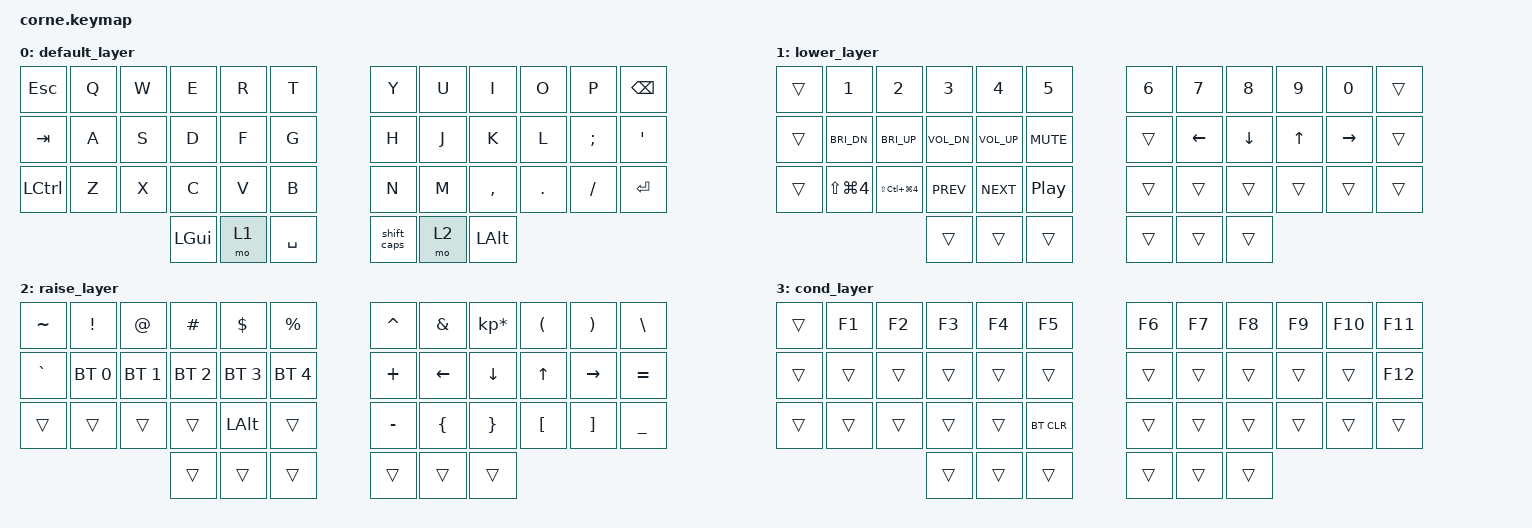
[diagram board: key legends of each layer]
/*
 * Copyright (c) 2020 The ZMK Contributors
 *
 * SPDX-License-Identifier: MIT
 */

#include <behaviors.dtsi>
#include <dt-bindings/zmk/bt.h>
#include <dt-bindings/zmk/keys.h>

/ {
    behaviors {
        shift_caps: shift_caps {
            compatible = "zmk,behavior-tap-dance";
            label = "SHIFT_CAPS";
            #binding-cells = <0>;
            bindings = <&kp LSHIFT>, <&kp CAPSLOCK>;
        };
    };

    keymap {
        compatible = "zmk,keymap";

        default_layer {
            // -----------------------------------------------------------------------------------------
            // |  TAB |  Q  |  W  |  E  |  R  |  T  |   |  Y  |  U   |  I  |  O  |  P  | BKSP |
            // | CTRL |  A  |  S  |  D  |  F  |  G  |   |  H  |  J   |  K  |  L  |  ;  |  '   |
            // | SHFT |  Z  |  X  |  C  |  V  |  B  |   |  N  |  M   |  ,  |  .  |  /  | ESC  |
            //                    | GUI | LWR | SPC |   | ENT | RSE  | ALT |

            bindings = <
&kp ESC           &kp Q  &kp W  &kp E     &kp R  &kp T        &kp Y        &kp U  &kp I      &kp O    &kp P     &kp BSPC
&kp TAB           &kp A  &kp S  &kp D     &kp F  &kp G        &kp H        &kp J  &kp K      &kp L    &kp SEMI  &kp SQT
&kp LEFT_CONTROL  &kp Z  &kp X  &kp C     &kp V  &kp B        &kp N        &kp M  &kp COMMA  &kp DOT  &kp FSLH  &kp ENTER
                                &kp LGUI  &mo 1  &kp SPACE    &shift_caps  &mo 2  &kp LALT
            >;
        };

        lower_layer {
            // -----------------------------------------------------------------------------------------
            // |  TAB |  1  |  2  |  3  |  4  |  5  |   |  6  |  7  |  8  |  9  |  0  | BKSP |
            // | BTCLR| BT1 | BT2 | BT3 | BT4 | BT5 |   | LFT | DWN |  UP | RGT |     |      |
            // | SHFT |     |     |     |     |     |   |     |     |     |     |     |      |
            //                    | GUI |     | SPC |   | ENT |     | ALT |

            bindings = <
&trans  &kp N1          &kp N2                    &kp N3        &kp N4        &kp N5              &kp N6  &kp N7    &kp N8    &kp N9  &kp N0     &trans
&trans  &kp C_BRI_DN    &kp C_BRI_UP              &kp C_VOL_DN  &kp C_VOL_UP  &kp C_MUTE          &trans  &kp LEFT  &kp DOWN  &kp UP  &kp RIGHT  &trans
&trans  &kp LS(LG(N4))  &kp LS(LC(LG(NUMBER_4)))  &kp C_PREV    &kp C_NEXT    &kp C_PLAY_PAUSE    &trans  &trans    &trans    &trans  &trans     &trans
                                                  &trans        &trans        &trans              &trans  &trans    &trans
            >;
        };

        raise_layer {
            // -----------------------------------------------------------------------------------------
            // |  TAB |  !  |  @  |  #  |  $  |  %  |   |  ^  |  &  |  *  |  (  |  )  | BKSP |
            // | CTRL |     |     |     |     |     |   |  -  |  =  |  [  |  ]  |  \  |  `   |
            // | SHFT |     |     |     |     |     |   |  _  |  +  |  {  |  }  | "|" |  ~   |
            //                    | GUI |     | SPC |   | ENT |     | ALT |

            bindings = <
&kp TILDE  &kp EXCL      &kp AT        &kp HASH      &kp DLLR      &kp PRCNT       &kp CARET  &kp AMPS  &kp KP_MULTIPLY  &kp LPAR  &kp RPAR   &kp BACKSLASH
&kp GRAVE  &bt BT_SEL 0  &bt BT_SEL 1  &bt BT_SEL 2  &bt BT_SEL 3  &bt BT_SEL 4    &kp PLUS   &kp LEFT  &kp DOWN         &kp UP    &kp RIGHT  &kp EQUAL
&trans     &trans        &trans        &trans        &kp LALT      &trans          &kp MINUS  &kp LBRC  &kp RBRC         &kp LBKT  &kp RBKT   &kp UNDER
                                       &trans        &trans        &trans          &trans     &trans    &trans
            >;
        };

        cond_layer {
            bindings = <
&trans  &kp F1  &kp F2  &kp F3  &kp F4  &kp F5        &kp F6  &kp F7  &kp F8  &kp F9  &kp F10  &kp F11
&trans  &trans  &trans  &trans  &trans  &trans        &trans  &trans  &trans  &trans  &trans   &kp F12
&trans  &trans  &trans  &trans  &trans  &bt BT_CLR    &trans  &trans  &trans  &trans  &trans   &trans
                        &trans  &trans  &trans        &trans  &trans  &trans
            >;
        };
        extra_1 {
                status = "reserved";
        };

        extra_2 {
                status = "reserved";
        };

        extra_3 {
                status = "reserved";
        };

        extra_4 {
                status = "reserved";
        };
    };

    conditional_layers {
        compatible = "zmk,conditional-layers";

        cond {
            if-layers = <1 2>;
            then-layer = <3>;
        };
    };
};
